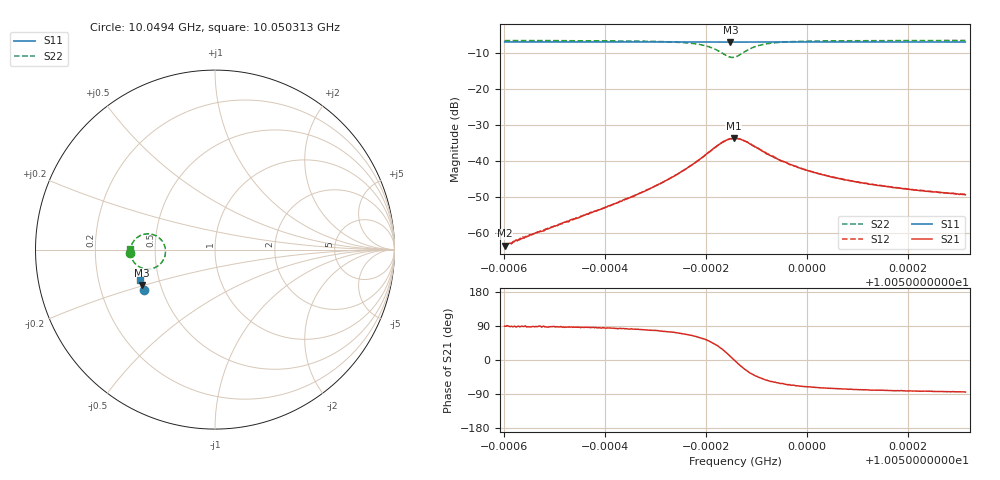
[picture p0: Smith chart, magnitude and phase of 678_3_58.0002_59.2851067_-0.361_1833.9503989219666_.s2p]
#  HZ  S  RI  R  50.00
! Rohde & Schwarz Vector Network Analyzer
! Rohde-Schwarz,ZNB20-2Port,1311601062101988,3.16
! Created: UTC 3/21/2024, 1:20:45 AM
! freq[Hz]  re:S11  im:S11  re:S21  im:S21  re:S12  im:S12  re:S22  im:S22
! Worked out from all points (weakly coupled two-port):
!   401 points, 10.0494 GHz to 10.050313 GHz, reference 50 ohm
!   highest |S21| = -33.64 dB at 10.049855 GHz (marker M1); lowest = -63.6 dB at 10.0494 GHz (marker M2)
!   lowest |S11| = -6.9 dB at 10.049848 GHz (marker M3), VSWR 2.64, Z = 19.8 - j9.77 ohm
!   |S11| at or under -10 dB: nowhere
!   |S22| runs from -11.2 to -6.5 dB; largest |S21 - S12| = 0.0017
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1.00494003e10  -0.395 -0.2241  8.54e-06 0.000664  -3.46e-05 0.000654  -0.4741 -0.0166
1.00494459e10  -0.3964 -0.2214  3.17e-05 0.000904  -3.44e-05 0.00091  -0.4736 -0.0112
1.00495532e10  -0.3998 -0.2149  9.91e-05 0.0017  8.89e-06 0.00172  -0.4719 0.00335
1.00496514e10  -0.4026 -0.209  0.000414 0.00317  0.000278 0.00317  -0.4662 0.0231
1.00497061e10  -0.4041 -0.2056  0.00108 0.00467  0.000807 0.00471  -0.4579 0.0401
1.00497541e10  -0.4053 -0.2024  0.00262 0.00686  0.00221 0.00701  -0.4398 0.0621
1.00497929e10  -0.4061 -0.1998  0.00629 0.00947  0.00571 0.0098  -0.4007 0.084
1.00498248e10  -0.4061 -0.1976  0.0139 0.00967  0.0131 0.0104  -0.3286 0.077
1.00498385e10  -0.4059 -0.1972  0.0181 0.00676  0.0175 0.00785  -0.2925 0.0447
1.00498477e10  -0.4059 -0.1969  0.0202 0.00327  0.0199 0.00467  -0.2779 0.0101
1.00498545e10  -0.4061 -0.1967  0.0208 0.000212  0.0207 0.0017  -0.2762 -0.0193
1.00498568e10  -0.406 -0.1967  0.0208 -0.000833  0.0205 0.000642  -0.2774 -0.0292
1.00498682e10  -0.4064 -0.1966  0.0192 -0.0055  0.0197 -0.00407  -0.2972 -0.0716
1.00498819e10  -0.4071 -0.1963  0.0157 -0.00902  0.0165 -0.008  -0.3356 -0.1006
1.00498979e10  -0.4079 -0.1953  0.0116 -0.0105  0.0123 -0.00973  -0.3777 -0.1082
1.00499139e10  -0.4086 -0.1946  0.00857 -0.0103  0.00921 -0.0099  -0.4073 -0.1024
1.00499664e10  -0.4107 -0.1913  0.00358 -0.00819  0.00408 -0.00789  -0.4513 -0.0707
1.00500097e10  -0.412 -0.1887  0.00222 -0.00671  0.00263 -0.00661  -0.4633 -0.0518
1.00500713e10  -0.4135 -0.1847  0.00129 -0.00538  0.00161 -0.00533  -0.4701 -0.0336
1.00501626e10  -0.416 -0.1791  0.000717 -0.00433  0.000969 -0.00428  -0.4737 -0.0162
1.00502425e10  -0.4179 -0.1742  0.000519 -0.00376  0.000719 -0.00371  -0.4748 -0.00531
1.00503133e10  -0.4194 -0.1699  0.000327 -0.00338  0.000538 -0.0034  -0.4752 0.00298
